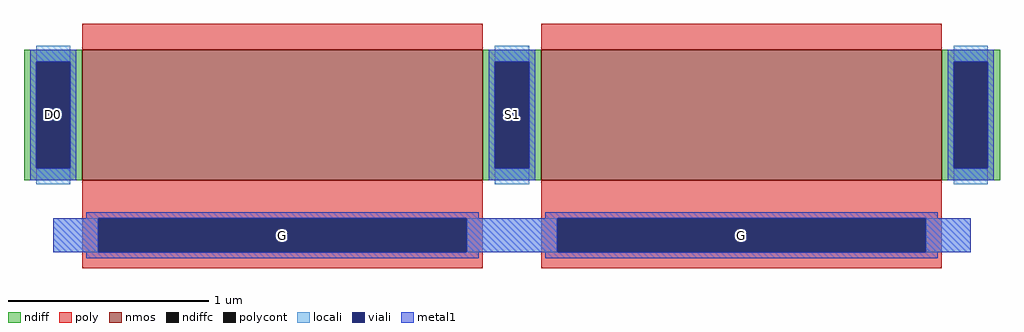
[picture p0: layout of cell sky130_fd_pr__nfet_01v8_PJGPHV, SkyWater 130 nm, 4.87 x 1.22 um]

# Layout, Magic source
magic
tech sky130A
magscale 1 2
<< nmos >>
rect -429 -34 -29 96
rect 29 -34 429 96
<< ndiff >>
rect -487 84 -429 96
rect -487 -22 -475 84
rect -441 -22 -429 84
rect -487 -34 -429 -22
rect -29 84 29 96
rect -29 -22 -17 84
rect 17 -22 29 84
rect -29 -34 29 -22
rect 429 84 487 96
rect 429 -22 441 84
rect 475 -22 487 84
rect 429 -34 487 -22
<< ndiffc >>
rect -475 -22 -441 84
rect -17 -22 17 84
rect 441 -22 475 84
<< poly >>
rect -429 96 -29 122
rect 29 96 429 122
rect -429 -72 -29 -34
rect -429 -106 -413 -72
rect -45 -106 -29 -72
rect -429 -122 -29 -106
rect 29 -72 429 -34
rect 29 -106 45 -72
rect 413 -106 429 -72
rect 29 -122 429 -106
<< polycont >>
rect -413 -106 -45 -72
rect 45 -106 413 -72
<< locali >>
rect -475 84 -441 100
rect -475 -38 -441 -22
rect -17 84 17 100
rect -17 -38 17 -22
rect 441 84 475 100
rect 441 -38 475 -22
rect -458 -106 -413 -72
rect -45 -106 45 -72
rect 413 -106 458 -72
<< viali >>
rect -475 -22 -441 84
rect -17 -22 17 84
rect 441 -22 475 84
rect -413 -106 -45 -72
rect 45 -106 413 -72
<< metal1 >>
rect -481 84 -435 96
rect -481 -22 -475 84
rect -441 -22 -435 84
rect -481 -34 -435 -22
rect -23 84 23 96
rect -23 -22 -17 84
rect 17 -22 23 84
rect -23 -34 23 -22
rect 435 84 481 96
rect 435 -22 441 84
rect 475 -22 481 84
rect 435 -34 481 -22
rect -425 -72 -33 -66
rect 33 -72 425 -66
rect -458 -106 -413 -72
rect -45 -106 45 -72
rect 413 -106 458 -72
rect -425 -112 -33 -106
rect 33 -112 425 -106
<< labels >>
rlabel ndiffc -458 31 -458 31 0 D0
port 1 nsew
rlabel polycont -229 -89 -229 -89 0 G
port 2 nsew
rlabel ndiffc 0 31 0 31 0 S1
port 3 nsew
rlabel polycont 229 -89 229 -89 0 G
port 2 nsew
<< properties >>
string gencell sky130_fd_pr__nfet_01v8
string library sky130
string parameters w 0.65 l 2 m 1 nf 2 diffcov 100 polycov 100 guard 0 glc 0 grc 0 gtc 0 gbc 0 tbcov 100 rlcov 100 topc 0 botc 1 poverlap 0 doverlap 1 lmin 0.15 wmin 0.42 class mosfet compatible {sky130_fd_pr__nfet_01v8 sky130_fd_pr__nfet_01v8_lvt  sky130_fd_bs_flash__special_sonosfet_star  sky130_fd_pr__nfet_g5v0d10v5 sky130_fd_pr__nfet_05v0_nvt  sky130_fd_pr__nfet_03v3_nvt} full_metal 0 conn_gates 1 viasrc 100 viadrn 100 viagate 100 viagb 0 viagr 0 viagl 0 viagt 0 doports 1
<< end >>
